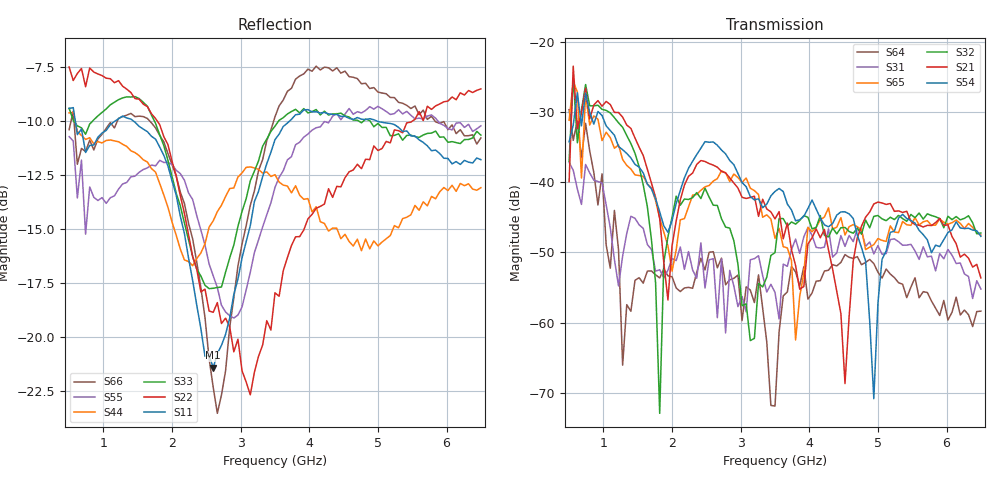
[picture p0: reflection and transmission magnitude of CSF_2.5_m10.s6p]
!Keysight Technologies,M9804A,MY58100912,A.14.10.03
!Date: Thursday, April 27, 2023 10:28:33
!Correction: S11(C  6-Port  )
!S12(C  6-Port  )
!S13(C  6-Port  )
!S14(C  6-Port  )
!S15(C  6-Port  )
!S16(C  6-Port  )
!S21(C  6-Port  )
!S22(C  6-Port  )
!S23(C  6-Port  )
!S24(C  6-Port  )
!S25(C  6-Port  )
!S26(C  6-Port  )
!S31(C  6-Port  )
!S32(C  6-Port  )
!S33(C  6-Port  )
!S34(C  6-Port  )
!S35(C  6-Port  )
!S36(C  6-Port  )
!S41(C  6-Port  )
!S42(C  6-Port  )
!S43(C  6-Port  )
!S44(C  6-Port  )
!S45(C  6-Port  )
!S46(C  6-Port  )
!S51(C  6-Port  )
!S52(C  6-Port  )
!S53(C  6-Port  )
!S54(C  6-Port  )
!S55(C  6-Port  )
!S56(C  6-Port  )
!S61(C  6-Port  )
!S62(C  6-Port  )
!S63(C  6-Port  )
!S64(C  6-Port  )
!S65(C  6-Port  )
!S66(C  6-Port  )
!S6P File: Measurement: :
# Hz S  RI  R 50
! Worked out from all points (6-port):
!   101 points, 500 MHz to 6.5 GHz, reference 50 ohm
!   strongest paths, dB at 500 MHz, 2 GHz, 3.5 GHz, 5 GHz, 6.5 GHz:
!     S54: -34.2, -45.4, -41.3, -57.2, -47.7
!     S21: -39.9, -49.0, -45.2, -42.8, -53.6
!     S32: -37.0, -45.0, -50.0, -44.7, -47.2
!     S65: -31.1, -52.7, -48.0, -48.0, -47.5
!     S31: -37.2, -50.9, -55.7, -49.0, -55.2
!     S64: -29.6, -53.5, -71.9, -52.8, -58.4
!   lowest |S11| = -21.4 dB at 2.6 GHz (marker M1), VSWR 1.19, Z = 42.5 + j2.21 ohm
!   |S11| at or under -10 dB: 589.6 MHz to 1.172 GHz (582.2 MHz wide, 66.1 % of centre); 1.436 GHz to 3.714 GHz (2.278 GHz wide, 88.5 % of centre); 4.981 GHz to end of sweep
